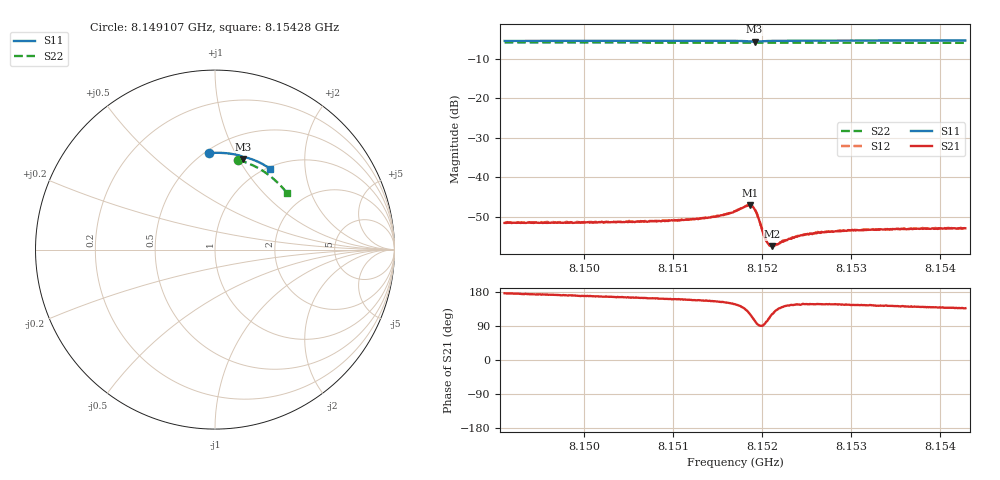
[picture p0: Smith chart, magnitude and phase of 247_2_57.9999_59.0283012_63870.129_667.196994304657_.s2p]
#  HZ  S  RI  R  50.00
! Rohde & Schwarz Vector Network Analyzer
! Rohde-Schwarz,ZNB20-2Port,1311601062101988,3.16
! Created: UTC 3/21/2024, 1:01:18 AM
! freq[Hz]  re:S11  im:S11  re:S21  im:S21  re:S12  im:S12  re:S22  im:S22
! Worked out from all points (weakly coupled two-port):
!   401 points, 8.149107 GHz to 8.15428 GHz, reference 50 ohm
!   highest |S21| = -47.15 dB at 8.151862 GHz (marker M1); lowest = -57.5 dB at 8.152108 GHz (marker M2)
!   lowest |S11| = -5.5 dB at 8.151914 GHz (marker M3), VSWR 3.24, Z = 37.3 + j52.2 ohm
!   |S11| at or under -10 dB: nowhere
!   |S22| runs from -5.9 to -5.7 dB; largest |S21 - S12| = 0.00011
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8.1491071e9  -0.0325 0.5375  -0.00262 0.000178  -0.00266 0.000243  0.13 0.4993
8.1499736e9  0.028 0.5391  -0.0026 0.00049  -0.00263 0.000556  0.1833 0.4814
8.1508402e9  0.0886 0.5339  -0.00265 0.000868  -0.00265 0.000917  0.2341 0.4576
8.1512928e9  0.1204 0.5281  -0.00276 0.00112  -0.00275 0.00119  0.2593 0.4433
8.1514868e9  0.1343 0.5246  -0.00285 0.00136  -0.00289 0.00142  0.27 0.4366
8.1516938e9  0.1501 0.5189  -0.00311 0.002  -0.00306 0.00206  0.2813 0.4291
8.1518102e9  0.1584 0.5118  -0.00293 0.00309  -0.00292 0.00314  0.2872 0.4246
8.1518619e9  0.1592 0.507  -0.00226 0.00376  -0.00223 0.00382  0.2897 0.4227
8.1518878e9  0.1582 0.5051  -0.00164 0.00392  -0.00162 0.00401  0.2911 0.4216
8.1519136e9  0.1564 0.5046  -0.000928 0.00381  -0.000895 0.00386  0.292 0.4207
8.1519524e9  0.1547 0.5065  -0.000174 0.00312  -0.000125 0.00311  0.294 0.4193
8.1520171e9  0.1574 0.5111  -9.97e-05 0.00183  -9.48e-05 0.00187  0.2973 0.4171
8.152043e9  0.1597 0.5124  -0.000289 0.00154  -0.000223 0.00155  0.2988 0.4162
8.1520688e9  0.1621 0.513  -0.000432 0.00135  -0.000415 0.00135  0.3003 0.4153
8.1521076e9  0.1656 0.5135  -0.000671 0.00115  -0.000659 0.00116  0.3022 0.4138
8.1521335e9  0.1677 0.5133  -0.000794 0.00109  -0.000821 0.0011  0.3037 0.4128
8.152237e9  0.1764 0.5123  -0.00117 0.000964  -0.00119 0.00103  0.309 0.4087
8.1523922e9  0.1879 0.5092  -0.00147 0.000952  -0.00148 0.00101  0.3167 0.4026
8.1525603e9  0.1997 0.5053  -0.00159 0.00102  -0.00159 0.00106  0.325 0.3957
8.1529871e9  0.2279 0.4943  -0.00173 0.0012  -0.00173 0.00123  0.3453 0.3773
8.1534269e9  0.2559 0.4813  -0.00173 0.0013  -0.00173 0.00132  0.3649 0.3573
8.1542805e9  0.3071 0.4517  -0.00163 0.00154  -0.0016 0.00156  0.3997 0.316
